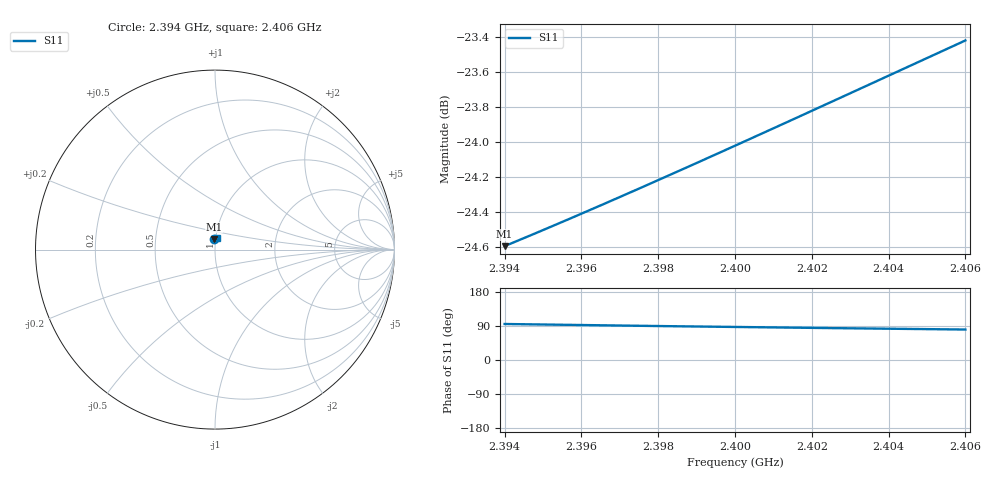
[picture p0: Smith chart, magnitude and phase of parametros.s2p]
# GHz S RI R 50
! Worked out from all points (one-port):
!   12001 points, 2.394 GHz to 2.406 GHz, reference 50 ohm
!   lowest |S11| = -24.6 dB at 2.394 GHz (marker M1), VSWR 1.13, Z = 49.2 + j5.79 ohm
!   |S11| at or under -10 dB: start of sweep to end of sweep
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2.394  -0.00513 0.0587
2.394027  -0.0051 0.0587
2.394054  -0.00506 0.0587
2.394276  -0.00475 0.0589
2.394575  -0.00433 0.0591
2.394879  -0.00391 0.0593
2.395187  -0.00348 0.0596
2.3955  -0.00305 0.0598
2.395864  -0.00254 0.0601
2.396235  -0.00203 0.0603
2.396614  -0.0015 0.0606
2.397  -0.000971 0.0608
2.397363  -0.00047 0.0611
2.397733  4e-05 0.0614
2.398112  0.000562 0.0616
2.3985  0.0011 0.0619
2.399229  0.0021 0.0624
2.4  0.00315 0.0629
2.400722  0.00414 0.0633
2.4015  0.0052 0.0638
2.402206  0.00615 0.0643
2.403  0.00723 0.0647
2.4045  0.00925 0.0656
2.405941  0.0112 0.0665
2.405955  0.0112 0.0665
2.40597  0.0112 0.0665
2.405985  0.0112 0.0665
2.406  0.0113 0.0665
